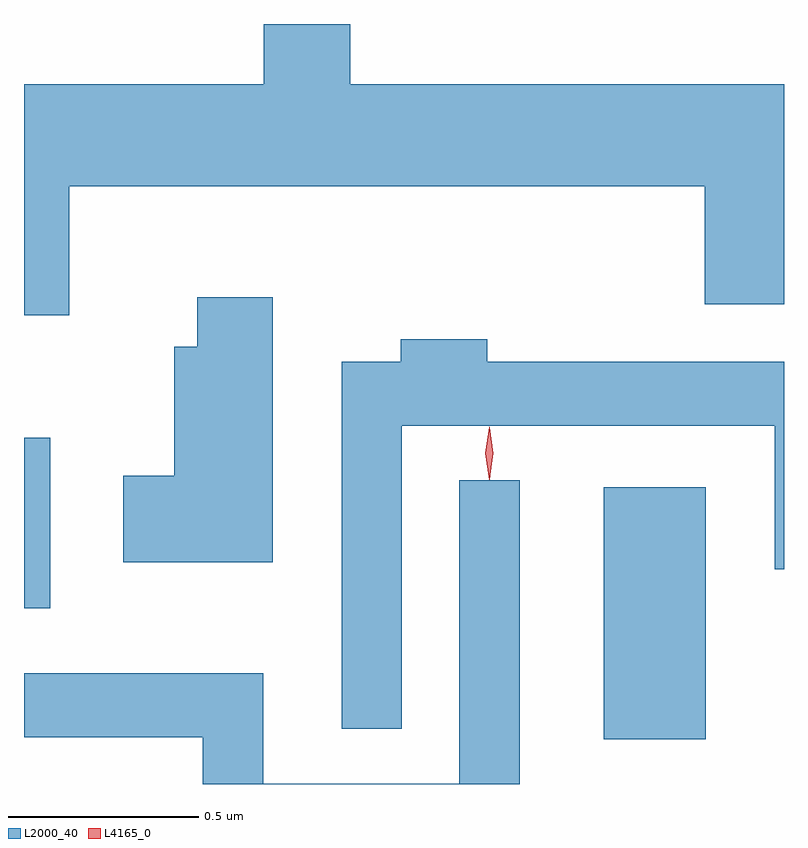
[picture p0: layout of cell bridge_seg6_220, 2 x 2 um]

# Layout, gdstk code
import gdstk
lib = gdstk.Library(unit=1e-6, precision=1e-09)
def R(c, l, rs):  # rectangles x0, y0, x1, y1
    for r in rs: c.add(gdstk.rectangle(r[:2], r[2:], *l))
def P(c, l, *ps):  # polygons
    for p in ps: c.add(gdstk.Polygon(p, *l))
L2000_40 = (2000, 40)
L4165_0 = (4165, 0)

bridge_seg6_220 = lib.new_cell('bridge_seg6_220')
R(bridge_seg6_220, L2000_40, [(1080.316,1559.681,1080.584,1560.344), (1078.79,1560.026,1078.859,1560.474)])
P(bridge_seg6_220, L2000_40, [(1078.909,1561.136),(1080.581,1561.136),(1080.581,1560.826),(1080.79,1560.826),(1080.79,1561.404),(1079.649,1561.404),(1079.649,1561.563),(1079.421,1561.563),(1079.421,1561.404),(1078.79,1561.404),(1078.79,1560.796),(1078.909,1560.796)],
  [(1079.444,1560.844),(1079.246,1560.844),(1079.246,1560.714),(1079.186,1560.714),(1079.186,1560.374),(1079.051,1560.374),(1079.051,1560.146),(1079.444,1560.146)],
  [(1079.784,1560.506),(1080.766,1560.506),(1080.766,1560.128),(1080.79,1560.128),(1080.79,1560.674),(1080.009,1560.674),(1080.009,1560.734),(1079.781,1560.734),(1079.781,1560.674),(1079.626,1560.674),(1079.626,1559.708),(1079.784,1559.708)],
  [(1080.094,1560.363),(1079.936,1560.363),(1079.936,1559.564),(1079.419,1559.564),(1079.419,1559.854),(1078.79,1559.854),(1078.79,1559.686),(1079.261,1559.686),(1079.261,1559.563),(1080.094,1559.563)])
P(bridge_seg6_220, L4165_0, [(1080.015,1560.367),(1080.015,1560.368),(1080.005,1560.434),(1080.015,1560.5),(1080.015,1560.501),(1080.016,1560.5),(1080.025,1560.434),(1080.016,1560.368)],
  [(1080.014,1560.364),(1080.014,1560.364),(1080.004,1560.433),(1080.014,1560.502),(1080.014,1560.503),(1080.015,1560.502),(1080.024,1560.433),(1080.015,1560.364)])

lib.write_gds('bridge_seg6_220.gds')
